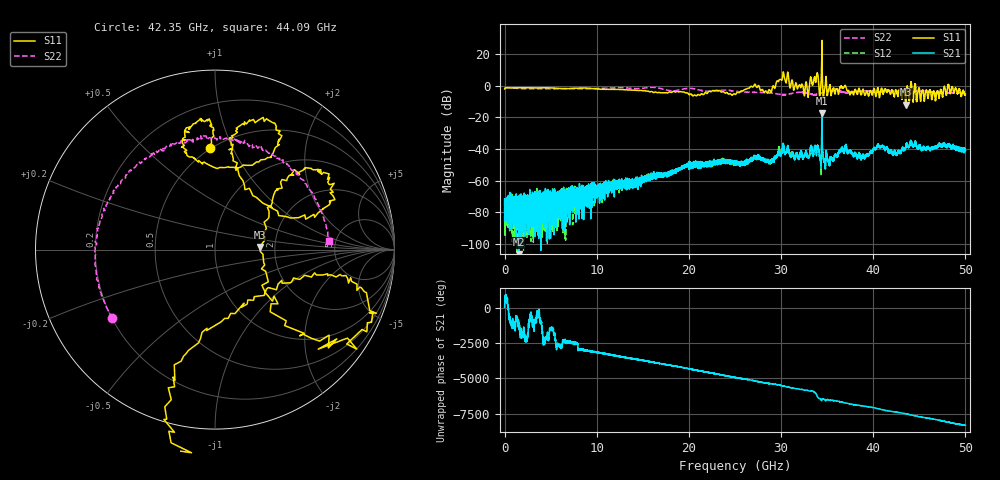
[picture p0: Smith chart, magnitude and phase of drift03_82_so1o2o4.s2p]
!Created with skrf (http://scikit-rf.org).
# Hz S RI R 50.0
!freq ReS11 ImS11 ReS21 ImS21 ReS12 ImS12 ReS22 ImS22
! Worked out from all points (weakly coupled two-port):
!   10000 points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, 5.3 MHz to 50 GHz, reference 50 ohm
!   highest |S21| = -17.19 dB at 34.43 GHz (marker M1); lowest = -109.8 dB at 1.56 GHz (marker M2)
!   lowest |S11| = -12.1 dB at 43.52 GHz (marker M3), VSWR 1.66, Z = 83 + j2.58 ohm
!   |S11| at or under -10 dB: 43.48449 GHz to 43.54623 GHz (61.73 MHz wide, 0.142 % of centre); 44.30814 GHz to 44.31712 GHz (8.987 MHz wide, 0.0203 % of centre); 44.32383 GHz to 44.33098 GHz (7.151 MHz wide, 0.0161 % of centre) (the widest 3 of 4)
!   |S22| runs from -5.8 to -1.1 dB; largest |S21 - S12| = 0.034
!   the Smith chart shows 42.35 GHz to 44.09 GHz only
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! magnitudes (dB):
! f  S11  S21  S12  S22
! 5.3 MHz  -2.1  -71.5  -72.3  -1.3
! 1.56 GHz  -1.3  -109.8  -73.8  -1.8
! 4.77 GHz  -1.4  -67.2  -74.8  -2.1
! 8.34 GHz  -1.5  -68.5  -68.1  -2.1
! 16.67 GHz  -4.4  -57.2  -57.0  -1.4
! 19.95 GHz  -5.1  -50.6  -50.4  -1.7
! 25.01 GHz  -5.5  -48.1  -49.4  -3.5
! 27.02 GHz  -0.3  -44.6  -45.5  -4.2
! 28.72 GHz  -2.5  -47.7  -47.7  -4.5
! 30.14 GHz  4.4  -41.3  -40.3  -5.7
! 32.74 GHz  2.0  -42.4  -42.1  -4.6
! 33.34 GHz  2.6  -39.9  -40.7  -5.6
! 33.82 GHz  4.0  -41.7  -42.4  -5.7
! 34.43 GHz  28.6  -17.2  -18.5  -4.6
! 35.3 GHz  0.5  -48.9  -47.3  -3.4
! 36.85 GHz  -0.7  -41.6  -41.7  -4.2
! 38.86 GHz  -2.4  -43.3  -44.4  -3.2
! 40.58 GHz  -3.5  -38.1  -37.9  -4.0
! 41.67 GHz  -2.8  -42.2  -42.1  -3.3
! 43.52 GHz  -12.1  -38.9  -39.1  -4.1
! 48.32 GHz  -4.4  -38.1  -38.2  -4.5
! 50 GHz  -5.3  -41.3  -41.1  -4.5
